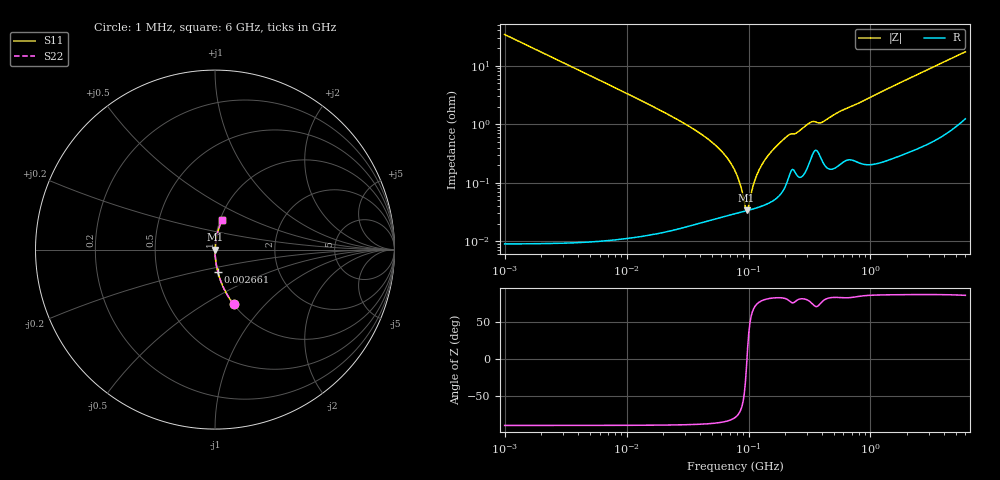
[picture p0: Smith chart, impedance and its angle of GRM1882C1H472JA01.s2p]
!Murata Part Number: GRM1882C1H472JA01
!These Parameters are Measured in Series Mode Connection
!Data Generated on Mar 30, 2021
!  o--ll--o
!Port1  Port2
!  o------o
!Operation Temp=25[degC], DC Bias Voltage=0[V]
!Freq. Start=1000[kHz] Stop=6[GHz] 401[Steps]
# Hz S RI R 50
!Freq.(Hz) S11(Real) S11(Imag) S21(Real) S21(Imag) S12(Real) S12(Imag) S22(Real) S22(Imag)
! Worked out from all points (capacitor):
!   401 points, 1 MHz to 6 GHz, reference 50 ohm
!   read as one part in series: C = 4.67 nF near 1.044 MHz
!   lowest |Z| = 33.8 mohm at 96.28 MHz (marker M1)
!   series resonance near 97.09 MHz, so ESL is about 580 pH
!   S11 on the Smith chart (normalised r, x): 1 MHz: 1.00, -0.68; 2.661 MHz: 1.00, -0.26; 6 GHz: 1.02, +0.34
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1000000  0.104 -0.3052  0.896 0.3052  0.896 0.3052  0.104 -0.3052
2660982  0.0162 -0.1258  0.9838 0.1258  0.9838 0.1258  0.0162 -0.1258
4293785  0.00632 -0.0787  0.9937 0.0787  0.9937 0.0787  0.00632 -0.0787
1.843659e7  0.000452 -0.0177  0.9995 0.0177  0.9995 0.0177  0.000452 -0.0177
3.316698e7  0.000265 -0.009  0.9997 0.009  0.9997 0.009  0.000265 -0.009
4.905945e7  0.000257 -0.00511  0.9997 0.00511  0.9997 0.00511  0.000257 -0.00511
6.368941e7  0.000276 -0.00301  0.9997 0.00301  0.9997 0.00301  0.000276 -0.00301
7.745967e7  0.000299 -0.00158  0.9997 0.00158  0.9997 0.00158  0.000299 -0.00158
8.450008e7  0.000311 -0.000965  0.9997 0.000965  0.9997 0.000965  0.000311 -0.000965
9.218041e7  0.000325 -0.000359  0.9997 0.000359  0.9997 0.000359  0.000325 -0.000359
9.627852e7  0.000333 -5.75e-05  0.9997 5.75e-05  0.9997 5.75e-05  0.000333 -5.75e-05
1.005588e8  0.000341 0.000245  0.9997 -0.000245  0.9997 -0.000245  0.000341 0.000245
1.096987e8  0.00036 0.000852  0.9996 -0.000852  0.9996 -0.000852  0.00036 0.000852
1.196694e8  0.000382 0.00147  0.9996 -0.00147  0.9996 -0.00147  0.000382 0.00147
1.455431e8  0.000454 0.00293  0.9995 -0.00293  0.9995 -0.00293  0.000454 0.00293
2.061188e8  0.00104 0.0061  0.999 -0.0061  0.999 -0.0061  0.00104 0.0061
2.506837e8  0.00137 0.0071  0.9986 -0.0071  0.9986 -0.0071  0.00137 0.0071
3.325952e8  0.00304 0.0106  0.997 -0.0106  0.997 -0.0106  0.00304 0.0106
4.045054e8  0.00241 0.0106  0.9976 -0.0106  0.9976 -0.0106  0.00241 0.0106
5.60538e8  0.0023 0.0163  0.9977 -0.0163  0.9977 -0.0163  0.0023 0.0163
1.428092e9  0.00418 0.0414  0.9958 -0.0414  0.9958 -0.0414  0.00418 0.0414
6e9  0.0398 0.1629  0.9602 -0.1629  0.9602 -0.1629  0.0398 0.1629
